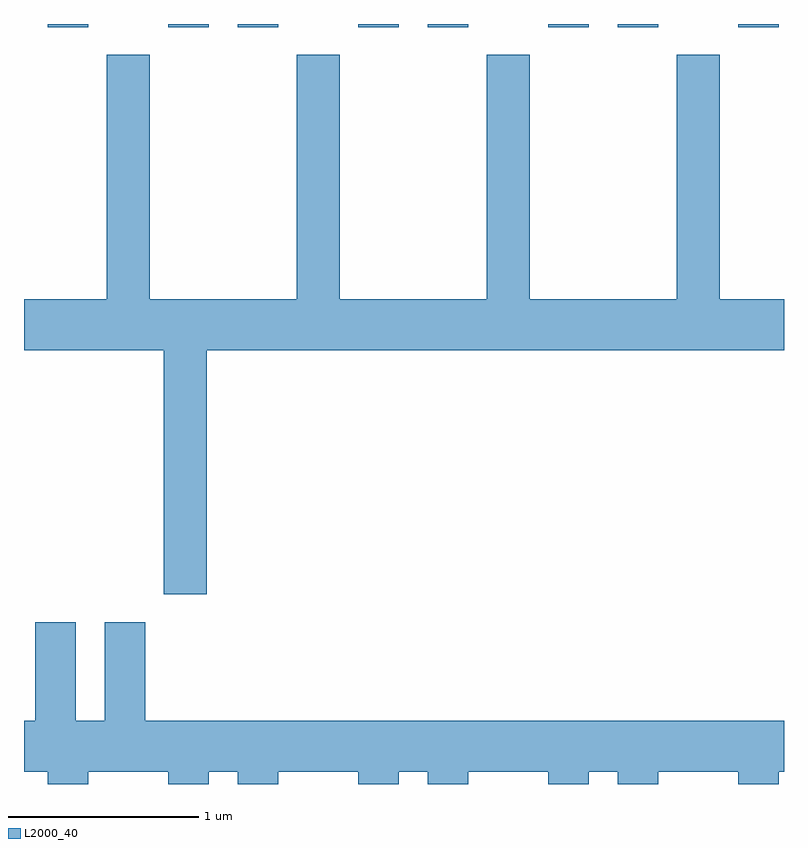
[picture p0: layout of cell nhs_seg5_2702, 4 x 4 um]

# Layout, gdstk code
import gdstk
lib = gdstk.Library(unit=1e-6, precision=1e-09)
def R(c, l, rs):  # rectangles x0, y0, x1, y1
    for r in rs: c.add(gdstk.rectangle(r[:2], r[2:], *l))
def P(c, l, *ps):  # polygons
    for p in ps: c.add(gdstk.Polygon(p, *l))
L2000_40 = (2000, 40)

nhs_seg5_2702 = lib.new_cell('nhs_seg5_2702')
R(nhs_seg5_2702, L2000_40, [(265.736,1454.056,265.949,1454.072), (266.371,1454.056,266.584,1454.072), (266.736,1454.056,266.949,1454.072), (267.371,1454.056,267.584,1454.072), (267.736,1454.056,267.949,1454.072), (268.371,1454.056,268.584,1454.072), (268.736,1454.056,268.949,1454.072), (269.371,1454.056,269.584,1454.072)])
P(nhs_seg5_2702, L2000_40, [(266.574,1452.356),(269.611,1452.356),(269.611,1452.624),(269.274,1452.624),(269.274,1453.909),(269.046,1453.909),(269.046,1452.624),(268.274,1452.624),(268.274,1453.909),(268.046,1453.909),(268.046,1452.624),(267.274,1452.624),(267.274,1453.909),(267.046,1453.909),(267.046,1452.624),(266.274,1452.624),(266.274,1453.909),(266.046,1453.909),(266.046,1452.624),(265.611,1452.624),(265.611,1452.356),(266.346,1452.356),(266.346,1451.071),(266.574,1451.071)],
  [(265.949,1450.136),(266.371,1450.136),(266.371,1450.072),(266.584,1450.072),(266.584,1450.136),(266.736,1450.136),(266.736,1450.072),(266.949,1450.072),(266.949,1450.136),(267.371,1450.136),(267.371,1450.072),(267.584,1450.072),(267.584,1450.136),(267.736,1450.136),(267.736,1450.072),(267.949,1450.072),(267.949,1450.136),(268.371,1450.136),(268.371,1450.072),(268.584,1450.072),(268.584,1450.136),(268.736,1450.136),(268.736,1450.072),(268.949,1450.072),(268.949,1450.136),(269.371,1450.136),(269.371,1450.072),(269.584,1450.072),(269.584,1450.136),(269.611,1450.136),(269.611,1450.404),(266.249,1450.404),(266.249,1450.924),(266.036,1450.924),(266.036,1450.404),(265.884,1450.404),(265.884,1450.924),(265.671,1450.924),(265.671,1450.404),(265.611,1450.404),(265.611,1450.136),(265.736,1450.136),(265.736,1450.072),(265.949,1450.072)])

lib.write_gds('nhs_seg5_2702.gds')
